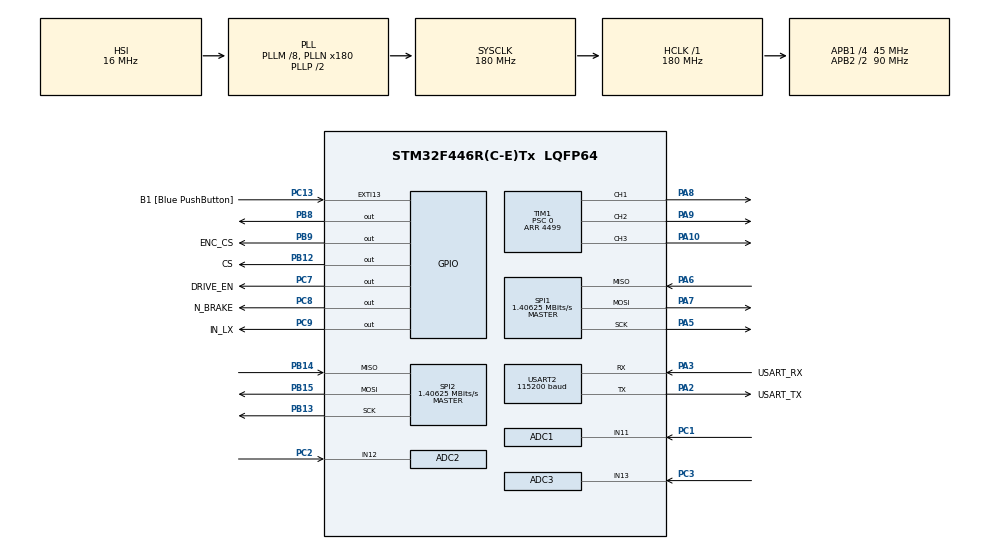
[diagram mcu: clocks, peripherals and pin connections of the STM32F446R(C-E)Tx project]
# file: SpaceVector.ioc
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ADC1.Channel-2\#ChannelRegularConversion=ADC_CHANNEL_11
ADC1.NbrOfConversionFlag=1
ADC1.Rank-2\#ChannelRegularConversion=1
ADC1.SamplingTime-2\#ChannelRegularConversion=ADC_SAMPLETIME_3CYCLES
ADC1.master=1
ADC2.Channel-0\#ChannelRegularConversion=ADC_CHANNEL_12
ADC2.NbrOfConversionFlag=1
ADC2.Rank-0\#ChannelRegularConversion=1
ADC2.SamplingTime-0\#ChannelRegularConversion=ADC_SAMPLETIME_3CYCLES
ADC3.Channel-0\#ChannelRegularConversion=ADC_CHANNEL_13
ADC3.NbrOfConversionFlag=1
ADC3.Rank-0\#ChannelRegularConversion=1
ADC3.SamplingTime-0\#ChannelRegularConversion=ADC_SAMPLETIME_3CYCLES
Dma.ADC1.2.Direction=DMA_PERIPH_TO_MEMORY
Dma.ADC1.2.FIFOMode=DMA_FIFOMODE_DISABLE
Dma.ADC1.2.Instance=DMA2_Stream4
Dma.ADC1.2.MemDataAlignment=DMA_MDATAALIGN_HALFWORD
Dma.ADC1.2.MemInc=DMA_MINC_ENABLE
Dma.ADC1.2.Mode=DMA_NORMAL
Dma.ADC1.2.PeriphDataAlignment=DMA_PDATAALIGN_HALFWORD
Dma.ADC1.2.PeriphInc=DMA_PINC_DISABLE
Dma.ADC1.2.Priority=DMA_PRIORITY_LOW
Dma.ADC2.0.Direction=DMA_PERIPH_TO_MEMORY
Dma.ADC2.0.FIFOMode=DMA_FIFOMODE_DISABLE
Dma.ADC2.0.Instance=DMA2_Stream2
Dma.ADC2.0.MemDataAlignment=DMA_MDATAALIGN_HALFWORD
Dma.ADC2.0.MemInc=DMA_MINC_ENABLE
Dma.ADC2.0.Mode=DMA_NORMAL
Dma.ADC2.0.PeriphDataAlignment=DMA_PDATAALIGN_HALFWORD
Dma.ADC2.0.PeriphInc=DMA_PINC_DISABLE
Dma.ADC2.0.Priority=DMA_PRIORITY_LOW
Dma.ADC3.1.Direction=DMA_PERIPH_TO_MEMORY
Dma.ADC3.1.FIFOMode=DMA_FIFOMODE_DISABLE
Dma.ADC3.1.Instance=DMA2_Stream1
Dma.ADC3.1.MemDataAlignment=DMA_MDATAALIGN_HALFWORD
Dma.ADC3.1.MemInc=DMA_MINC_ENABLE
Dma.ADC3.1.Mode=DMA_NORMAL
Dma.ADC3.1.PeriphDataAlignment=DMA_PDATAALIGN_HALFWORD
Dma.ADC3.1.PeriphInc=DMA_PINC_DISABLE
Dma.ADC3.1.Priority=DMA_PRIORITY_LOW
Dma.Request0=ADC2
Dma.Request1=ADC3
Dma.Request2=ADC1
Dma.Request3=SPI1_RX
Dma.SPI1_RX.3.Direction=DMA_PERIPH_TO_MEMORY
Dma.SPI1_RX.3.FIFOMode=DMA_FIFOMODE_DISABLE
Dma.SPI1_RX.3.Instance=DMA2_Stream0
Dma.SPI1_RX.3.MemDataAlignment=DMA_MDATAALIGN_BYTE
Dma.SPI1_RX.3.MemInc=DMA_MINC_ENABLE
Dma.SPI1_RX.3.Mode=DMA_CIRCULAR
Dma.SPI1_RX.3.PeriphDataAlignment=DMA_PDATAALIGN_BYTE
Dma.SPI1_RX.3.PeriphInc=DMA_PINC_DISABLE
Dma.SPI1_RX.3.Priority=DMA_PRIORITY_LOW
Mcu.Family=STM32F4
Mcu.Name=STM32F446R(C-E)Tx
Mcu.Package=LQFP64
NVIC.DMA2_Stream0_IRQn=true\:0\:0\:false\:false\:true\:false\:true\:true
NVIC.DMA2_Stream1_IRQn=true\:0\:0\:false\:false\:true\:false\:true\:true
NVIC.DMA2_Stream2_IRQn=true\:0\:0\:false\:false\:true\:false\:true\:true
NVIC.DMA2_Stream4_IRQn=true\:0\:0\:false\:false\:true\:false\:true\:true
NVIC.PriorityGroup=NVIC_PRIORITYGROUP_0
NVIC.SPI1_IRQn=true\:0\:0\:false\:false\:true\:true\:true\:true
NVIC.TIM1_UP_TIM10_IRQn=true\:0\:0\:false\:false\:true\:true\:true\:true
NVIC.USART2_IRQn=true\:0\:0\:false\:false\:true\:true\:true\:true
PA10.Signal=S_TIM1_CH3
PA13.GPIO_Label=TMS
PA13.Mode=Trace_Asynchronous_SW
PA13.Signal=SYS_JTMS-SWDIO
PA14.GPIO_Label=TCK
PA14.Mode=Trace_Asynchronous_SW
PA14.Signal=SYS_JTCK-SWCLK
PA2.GPIO_Label=USART_TX
PA2.Mode=Asynchronous
PA2.Signal=USART2_TX
PA3.GPIO_Label=USART_RX
PA3.Mode=Asynchronous
PA3.Signal=USART2_RX
PA5.Mode=Full_Duplex_Master
PA5.Signal=SPI1_SCK
PA6.Mode=Full_Duplex_Master
PA6.Signal=SPI1_MISO
PA7.Mode=Full_Duplex_Master
PA7.Signal=SPI1_MOSI
PA8.Signal=S_TIM1_CH1
PA9.Signal=S_TIM1_CH2
PB12.GPIO_Label=CS
PB12.Signal=GPIO_Output
PB13.Mode=Full_Duplex_Master
PB13.Signal=SPI2_SCK
PB14.Mode=Full_Duplex_Master
PB14.Signal=SPI2_MISO
PB15.Mode=Full_Duplex_Master
PB15.Signal=SPI2_MOSI
PB3.GPIO_Label=SWO
PB3.Mode=Trace_Asynchronous_SW
PB3.Signal=SYS_JTDO-SWO
PB8.GPIO_Speed=GPIO_SPEED_FREQ_VERY_HIGH
PB8.Signal=GPIO_Output
PB9.GPIO_Label=ENC_CS
PB9.Signal=GPIO_Output
PC1.Signal=ADCx_IN11
PC13.GPIO_Label=B1 [Blue PushButton]
PC13.GPIO_ModeDefaultEXTI=GPIO_MODE_IT_FALLING
PC13.Signal=GPXTI13
PC14-OSC32_IN.Signal=RCC_OSC32_IN
PC15-OSC32_OUT.Signal=RCC_OSC32_OUT
PC2.Signal=ADCx_IN12
PC3.Signal=ADCx_IN13
PC7.GPIO_Label=DRIVE_EN
PC7.Signal=GPIO_Output
PC8.GPIO_Label=N_BRAKE
PC8.Signal=GPIO_Output
PC9.GPIO_Label=IN_LX
PC9.Signal=GPIO_Output
PH0-OSC_IN.Signal=RCC_OSC_IN
PH1-OSC_OUT.Signal=RCC_OSC_OUT
ProjectManager.HeapSize=0x200
ProjectManager.StackSize=0x400
ProjectManager.TargetToolchain=STM32CubeIDE
RCC.AHBFreq_Value=180000000
RCC.APB1CLKDivider=RCC_HCLK_DIV4
RCC.APB1Freq_Value=45000000
RCC.APB1TimFreq_Value=90000000
RCC.APB2CLKDivider=RCC_HCLK_DIV2
RCC.APB2Freq_Value=90000000
RCC.APB2TimFreq_Value=180000000
RCC.CortexFreq_Value=180000000
RCC.FLatency-AdvancedSettings=FLASH_LATENCY_5
RCC.HCLKFreq_Value=180000000
RCC.HSE_VALUE=8000000
RCC.HSI_VALUE=16000000
RCC.LSE_VALUE=32768
RCC.PLLM=8
RCC.PLLN=180
RCC.SYSCLKFreq_VALUE=180000000
RCC.SYSCLKSource=RCC_SYSCLKSOURCE_PLLCLK
RCC.USBFreq_Value=180000000
RCC.VCOOutputFreq_Value=360000000
SH.ADCx_IN11.0=ADC1_IN11,IN11
SH.ADCx_IN12.0=ADC2_IN12,IN12
SH.ADCx_IN13.0=ADC3_IN13,IN13
SH.S_TIM1_CH1.0=TIM1_CH1,PWM Generation1 CH1
SH.S_TIM1_CH2.0=TIM1_CH2,PWM Generation2 CH2
SH.S_TIM1_CH3.0=TIM1_CH3,PWM Generation3 CH3
SPI1.BaudRatePrescaler=SPI_BAUDRATEPRESCALER_64
SPI1.CLKPhase=SPI_PHASE_2EDGE
SPI1.CalculateBaudRate=1.40625 MBits/s
SPI1.Direction=SPI_DIRECTION_2LINES
SPI1.Mode=SPI_MODE_MASTER
SPI1.VirtualType=VM_MASTER
SPI2.BaudRatePrescaler=SPI_BAUDRATEPRESCALER_32
SPI2.CLKPhase=SPI_PHASE_2EDGE
SPI2.CalculateBaudRate=1.40625 MBits/s
SPI2.Direction=SPI_DIRECTION_2LINES
SPI2.Mode=SPI_MODE_MASTER
SPI2.VirtualType=VM_MASTER
TIM1.AutoReloadPreload=TIM_AUTORELOAD_PRELOAD_DISABLE
TIM1.Channel-PWM\ Generation1\ CH1=TIM_CHANNEL_1
TIM1.Channel-PWM\ Generation2\ CH2=TIM_CHANNEL_2
TIM1.Channel-PWM\ Generation3\ CH3=TIM_CHANNEL_3
TIM1.CounterMode=TIM_COUNTERMODE_CENTERALIGNED1
TIM1.Period=4499
TIM1.Prescaler=0
TIM1.RepetitionCounter=0
TIM1.TIM_MasterOutputTrigger=TIM_TRGO_RESET
TIM6.Prescaler=180-1
USART2.BaudRate=115200
USART2.VirtualMode=VM_ASYNC
VP_TIM1_VS_ClockSourceINT.Mode=Internal
VP_TIM6_VS_ClockSourceINT.Mode=Enable_Timer
board=NUCLEO-F446RE

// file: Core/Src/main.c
/* USER CODE BEGIN Header */
/**
  ******************************************************************************
  * @file           : main.c
  * @brief          : Main program body
  ******************************************************************************
  * @attention
  *
  * Copyright (c) 2023 STMicroelectronics.
  * All rights reserved.
  *
  * This software is licensed under terms that can be found in the LICENSE file
  * in the root directory of this software component.
  * If no LICENSE file comes with this software, it is provided AS-IS.
  *
  ******************************************************************************
  */
/* USER CODE END Header */
#include "main.h"

/* USER CODE BEGIN Includes */
#include <stdio.h>
#include <math.h>
/* USER CODE END Includes */

 ADC_HandleTypeDef hadc1;
ADC_HandleTypeDef hadc2;
ADC_HandleTypeDef hadc3;
DMA_HandleTypeDef hdma_adc1;
DMA_HandleTypeDef hdma_adc2;
DMA_HandleTypeDef hdma_adc3;

SPI_HandleTypeDef hspi1;
SPI_HandleTypeDef hspi2;
DMA_HandleTypeDef hdma_spi1_rx;

TIM_HandleTypeDef htim1;
TIM_HandleTypeDef htim6;

UART_HandleTypeDef huart2;

/* USER CODE BEGIN PV */
const float Vdc = 24;
double Va,Vb,Vc = 0.0f;
uint16_t k = 0;
uint32_t last_time = 0;

typedef struct Stationary{
	float ds;
	float qs;
}Stationary;

typedef struct Rotating{
	float dr;
	float qr;
}Rotating;

volatile struct Stationary i_dqs;
volatile uint8_t adc_done = 0;
uint8_t READ_ENC_BUFF[2] = {0x7F,0xFE};
uint8_t enc_data[2];
float elec_angle = 0.0f;
volatile uint16_t tmp_angle;
Phase adc = {0,0,0};
Phase Iabc = {0,0,0};
Stationary Idqs = {0,0};
Rotating Idqr = {0,0};
uint16_t adc_offset[3] = {0,0,0};

uint16_t i_ph1 = 0;
uint16_t i_ph2 = 0;
uint16_t i_ph3 = 0;

/* USER CODE END PV */

void SystemClock_Config(void);
static void MX_GPIO_Init(void);
static void MX_TIM1_Init(void);
static void MX_ADC1_Init(void);
static void MX_SPI2_Init(void);
static void MX_DMA_Init(void);
static void MX_ADC3_Init(void);
static void MX_ADC2_Init(void);
static void MX_USART2_UART_Init(void);
static void MX_SPI1_Init(void);
static void MX_TIM6_Init(void);
/* USER CODE BEGIN PFP */
void SPISend(uint8_t addr,uint8_t val1,uint8_t val2);
uint16_t SPIRead(uint8_t addr);
void setMosfet();
int Sector(double Ceta);
double Convert(double degree);
void SpaceVector(double V_ref,float Ceta);
void delay_us(uint16_t us);
/* USER CODE END PFP */

/* USER CODE BEGIN 0 */
//void HAL_TIM_PeriodElapsedCallback(TIM_HandleTypeDef *htim){
//	Iabc.a = -((i_ph1-adc_offset[0])/4096.0f*3.3)/(CURRENT_SENSE_GAIN*R_SENSE);
//	Iabc.b = -((i_ph2-adc_offset[1])/4096.0f*3.3)/(CURRENT_SENSE_GAIN*R_SENSE);
//	Iabc.c = -((i_ph3-adc_offset[2])/4096.0f*3.3)/(CURRENT_SENSE_GAIN*R_SENSE);
//	HAL_ADC_Start_DMA(&hadc1, (uint32_t *)&i_ph1, 1);
//	HAL_ADC_Start_DMA(&hadc2, (uint32_t *)&i_ph2, 1);
//	HAL_ADC_Start_DMA(&hadc3, (uint32_t *)&i_ph3, 1);
//	TIM1->CCR1 = Va*2598;
//	TIM1->CCR2 = Vb*2598;
//	TIM1->CCR3 = Vc*2598;
//}

void HAL_ADC_ConvCpltCallback(ADC_HandleTypeDef* hadc){
//	if(hadc->Instance == ADC1)
//	  Iabc.a = -((i_ph1-adc_offset[0])/4096.0f*3.3)/(CURRENT_SENSE_GAIN*R_SENSE);
//	else if(hadc->Instance == ADC2)
//	  Iabc.b = -((i_ph2-adc_offset[1])/4095.0f*3.3)/(CURRENT_SENSE_GAIN*R_SENSE);
//	else if(hadc->Instance == ADC3)
//	  Iabc.c = -((i_ph3-adc_offset[2])/4095.0f*3.3)/(CURRENT_SENSE_GAIN*R_SENSE);
}

//void HAL_ADC_ConvCpltCallback(ADC_HandleTypeDef* hadc)
//{
//    // Read & Update The ADC Result
//	static uint8_t buff[9] = {0,0,0,0,0,0,0,'\r','\n'};
//	static uint8_t counter = 0;
//	if(hadc->Instance == ADC1)
//	{
//		buff[0] = i_ph1  >> 8;
//		buff[1] = i_ph1;
//		adc_done |= 1;
//	}
//	else if(hadc->Instance == ADC2)
//	{
//			buff[2] = i_ph2  >> 8;
//			buff[3] = i_ph2;
//			adc_done |= 2;
//	}
//	else if(hadc->Instance == ADC3)
//	{
//			buff[4] = i_ph3  >> 8;
//			buff[5] = i_ph3;
//			adc_done |= 4;
//	}
//
//	if(adc_done == 7)
//	{
//		buff[6] = counter;
//		HAL_UART_Transmit_IT(&huart2, buff, 9);
//		counter++;
//		adc_done = 0;
//	}
//}

void HAL_SPI_RxCpltCallback(SPI_HandleTypeDef * hspi)
{
//	tmp_angle = ((enc_data[0] & 0b00111111) << 8) | enc_data[1];
//	tmp_angle += 1;
}

//void HAL_SPI_TxCpltCallback(SPI_HandleTypeDef * hspi)
//{
//	if(hspi->Instance == SPI1)
//	{
//		HAL_GPIO_WritePin(ENC_CS_GPIO_Port, ENC_CS_Pin, GPIO_PIN_SET);
//		delay_us(1);
//		HAL_GPIO_WritePin(ENC_CS_GPIO_Port, ENC_CS_Pin, GPIO_PIN_RESET);
//		HAL_SPI_TransmitReceive_IT(&hspi1, READ_ENC_BUFF, enc_data, 2);
//	}
//}

void HAL_SPI_TxRxCpltCallback(SPI_HandleTypeDef * hspi)
{
	if(hspi->Instance == SPI1)
	{
		tmp_angle = ((enc_data[0] & 0b00111111) << 8) | enc_data[1];
	}
}

void phase2dqs(struct Phase *i_ph, struct Stationary *i_dqs){
	i_dqs->ds = (2*i_ph->a - i_ph->b - i_ph->c)/3;
	i_dqs->qs = (i_ph->b - i_ph->c)/sqrt(3);
}

void dqs2dqr(Stationary *i_dqs, Rotating *i_dqr, float theta){
	theta *= (M_PI/180.0f);
	i_dqr->dr =  (i_dqs->ds*cos(theta)) + (i_dqs->qs*sin(theta));
	i_dqr->qr = (-i_dqs->ds*sin(theta)) + (i_dqs->qs*cos(theta));
}

void calibrateADC(){
	uint32_t tmp[3] = {0,0,0};
	SpaceVector(0.0, 0);
	for(int i=0;i<100;i++){
		HAL_ADC_Start(&hadc1);
		HAL_ADC_PollForConversion(&hadc1, 1);
		tmp[0] += HAL_ADC_GetValue(&hadc1);
		HAL_ADC_Stop(&hadc1);
		HAL_ADC_Start(&hadc2);
		HAL_ADC_PollForConversion(&hadc2, 1);
		tmp[1] += HAL_ADC_GetValue(&hadc2);
		HAL_ADC_Stop(&hadc2);
		HAL_ADC_Start(&hadc3);
		HAL_ADC_PollForConversion(&hadc3, 1);
		tmp[2] += HAL_ADC_GetValue(&hadc3);
		HAL_ADC_Stop(&hadc3);
//		delay_us(10);
	}
	adc_offset[0] = tmp[0]/100;
	adc_offset[1] = tmp[1]/100;
	adc_offset[2] = tmp[2]/100;
}

void delay_us(uint16_t us)
{
	htim6.Instance->CNT = 0;
	while(htim6.Instance->CNT < us);
}

void startEncRead()
{
	HAL_GPIO_WritePin(ENC_CS_GPIO_Port, ENC_CS_Pin, GPIO_PIN_SET);
	delay_us(1);
	HAL_GPIO_WritePin(ENC_CS_GPIO_Port, ENC_CS_Pin, GPIO_PIN_RESET);
	HAL_SPI_Transmit(&hspi1, READ_ENC_BUFF, 2, 10);
	HAL_GPIO_WritePin(ENC_CS_GPIO_Port, ENC_CS_Pin, GPIO_PIN_SET);
}

void readEnc()
{
	HAL_GPIO_WritePin(ENC_CS_GPIO_Port, ENC_CS_Pin, GPIO_PIN_SET);
	delay_us(1);
	HAL_GPIO_WritePin(ENC_CS_GPIO_Port, ENC_CS_Pin, GPIO_PIN_RESET);
	HAL_SPI_TransmitReceive_IT(&hspi1, READ_ENC_BUFF, enc_data, 2);
}

void getElecAngle()
{
	int16_t _tmp = tmp_angle - 2015;
	while( _tmp < 0)
		_tmp += 1170;

	elec_angle = (_tmp% 1170) * 360.0f/1170.0f;
}
/* USER CODE END 0 */

int main(void)
{

  /* MCU Configuration--------------------------------------------------------*/

  /* Reset of all peripherals, Initializes the Flash interface and the Systick. */
  HAL_Init();

  /* Configure the system clock */
  SystemClock_Config();

  /* Initialize all configured peripherals */
  MX_GPIO_Init();
  MX_TIM1_Init();
  MX_SPI2_Init();
  MX_DMA_Init();
  MX_ADC3_Init();
  MX_ADC2_Init();
  MX_ADC1_Init();
  MX_USART2_UART_Init();
  MX_SPI1_Init();
  MX_TIM6_Init();
  /* USER CODE BEGIN 2 */

  setMosfet();
  HAL_GPIO_WritePin(DRIVE_EN_GPIO_Port, DRIVE_EN_Pin, GPIO_PIN_SET);
  HAL_GPIO_WritePin(N_BRAKE_GPIO_Port, N_BRAKE_Pin, GPIO_PIN_SET);
  HAL_Delay(500);
  calibrateADC();
  HAL_TIM_Base_Start_IT(&htim1);
  HAL_TIM_Base_Start(&htim6);
  TIM1->RCR = 1;

  HAL_TIM_PWM_Start(&htim1, TIM_CHANNEL_1);
  HAL_TIM_PWM_Start(&htim1, TIM_CHANNEL_2);
  HAL_TIM_PWM_Start(&htim1, TIM_CHANNEL_3);
  startEncRead();
  uint16_t round = 0;
  uint32_t last_time = 0;
  /* USER CODE END 2 */

  /* Infinite loop */
  /* USER CODE BEGIN WHILE */
  while (1)
  {
	  if(round < 1)
	  {
		  for(float angle = 0.0f; angle < 360; angle +=0.005f){
			  if(HAL_GetTick() - last_time >= 2){
				  last_time = HAL_GetTick();
				  readEnc();
				  getElecAngle();
				  SpaceVector(4.0f, 0);
	//			  phase2dqs(&Iabc,&Idqs);
	//			  delay_us(20);
	//			  dqs2dqr(&Idqs,&Idqr,angle);
			  }
		  }
		  round++;
	  }
	  readEnc();
	  getElecAngle();
	  delay_us(20);

    /* USER CODE END WHILE */

  }
}

void SystemClock_Config(void)
{
  RCC_OscInitTypeDef RCC_OscInitStruct = {0};
  RCC_ClkInitTypeDef RCC_ClkInitStruct = {0};

  /** Configure the main internal regulator output voltage
  */
  __HAL_RCC_PWR_CLK_ENABLE();
  __HAL_PWR_VOLTAGESCALING_CONFIG(PWR_REGULATOR_VOLTAGE_SCALE1);

  /** Initializes the RCC Oscillators according to the specified parameters
  * in the RCC_OscInitTypeDef structure.
  */
  RCC_OscInitStruct.OscillatorType = RCC_OSCILLATORTYPE_HSI;
  RCC_OscInitStruct.HSIState = RCC_HSI_ON;
  RCC_OscInitStruct.HSICalibrationValue = RCC_HSICALIBRATION_DEFAULT;
  RCC_OscInitStruct.PLL.PLLState = RCC_PLL_ON;
  RCC_OscInitStruct.PLL.PLLSource = RCC_PLLSOURCE_HSI;
  RCC_OscInitStruct.PLL.PLLM = 8;
  RCC_OscInitStruct.PLL.PLLN = 180;
  RCC_OscInitStruct.PLL.PLLP = RCC_PLLP_DIV2;
  RCC_OscInitStruct.PLL.PLLQ = 2;
  RCC_OscInitStruct.PLL.PLLR = 2;
  if (HAL_RCC_OscConfig(&RCC_OscInitStruct) != HAL_OK)
  {
    Error_Handler();
  }

  /** Activate the Over-Drive mode
  */
  if (HAL_PWREx_EnableOverDrive() != HAL_OK)
  {
    Error_Handler();
  }

  /** Initializes the CPU, AHB and APB buses clocks
  */
  RCC_ClkInitStruct.ClockType = RCC_CLOCKTYPE_HCLK|RCC_CLOCKTYPE_SYSCLK
                              |RCC_CLOCKTYPE_PCLK1|RCC_CLOCKTYPE_PCLK2;
  RCC_ClkInitStruct.SYSCLKSource = RCC_SYSCLKSOURCE_PLLCLK;
  RCC_ClkInitStruct.AHBCLKDivider = RCC_SYSCLK_DIV1;
  RCC_ClkInitStruct.APB1CLKDivider = RCC_HCLK_DIV4;
  RCC_ClkInitStruct.APB2CLKDivider = RCC_HCLK_DIV2;

  if (HAL_RCC_ClockConfig(&RCC_ClkInitStruct, FLASH_LATENCY_5) != HAL_OK)
  {
    Error_Handler();
  }
}

static void MX_ADC1_Init(void)
{

  ADC_ChannelConfTypeDef sConfig = {0};

  /** Configure the global features of the ADC (Clock, Resolution, Data Alignment and number of conversion)
  */
  hadc1.Instance = ADC1;
  hadc1.Init.ClockPrescaler = ADC_CLOCK_SYNC_PCLK_DIV4;
  hadc1.Init.Resolution = ADC_RESOLUTION_12B;
  hadc1.Init.ScanConvMode = DISABLE;
  hadc1.Init.ContinuousConvMode = DISABLE;
  hadc1.Init.DiscontinuousConvMode = DISABLE;
  hadc1.Init.ExternalTrigConvEdge = ADC_EXTERNALTRIGCONVEDGE_NONE;
  hadc1.Init.ExternalTrigConv = ADC_SOFTWARE_START;
  hadc1.Init.DataAlign = ADC_DATAALIGN_RIGHT;
  hadc1.Init.NbrOfConversion = 1;
  hadc1.Init.DMAContinuousRequests = DISABLE;
  hadc1.Init.EOCSelection = ADC_EOC_SINGLE_CONV;
  if (HAL_ADC_Init(&hadc1) != HAL_OK)
  {
    Error_Handler();
  }

  /** Configure for the selected ADC regular channel its corresponding rank in the sequencer and its sample time.
  */
  sConfig.Channel = ADC_CHANNEL_11;
  sConfig.Rank = 1;
  sConfig.SamplingTime = ADC_SAMPLETIME_3CYCLES;
  if (HAL_ADC_ConfigChannel(&hadc1, &sConfig) != HAL_OK)
  {
    Error_Handler();
  }

}

static void MX_ADC2_Init(void)
{

  ADC_ChannelConfTypeDef sConfig = {0};

  /** Configure the global features of the ADC (Clock, Resolution, Data Alignment and number of conversion)
  */
  hadc2.Instance = ADC2;
  hadc2.Init.ClockPrescaler = ADC_CLOCK_SYNC_PCLK_DIV4;
  hadc2.Init.Resolution = ADC_RESOLUTION_12B;
  hadc2.Init.ScanConvMode = DISABLE;
  hadc2.Init.ContinuousConvMode = DISABLE;
  hadc2.Init.DiscontinuousConvMode = DISABLE;
  hadc2.Init.ExternalTrigConvEdge = ADC_EXTERNALTRIGCONVEDGE_NONE;
  hadc2.Init.ExternalTrigConv = ADC_SOFTWARE_START;
  hadc2.Init.DataAlign = ADC_DATAALIGN_RIGHT;
  hadc2.Init.NbrOfConversion = 1;
  hadc2.Init.DMAContinuousRequests = DISABLE;
  hadc2.Init.EOCSelection = ADC_EOC_SINGLE_CONV;
  if (HAL_ADC_Init(&hadc2) != HAL_OK)
  {
    Error_Handler();
  }

  /** Configure for the selected ADC regular channel its corresponding rank in the sequencer and its sample time.
  */
  sConfig.Channel = ADC_CHANNEL_12;
  sConfig.Rank = 1;
  sConfig.SamplingTime = ADC_SAMPLETIME_3CYCLES;
  if (HAL_ADC_ConfigChannel(&hadc2, &sConfig) != HAL_OK)
  {
    Error_Handler();
  }

}

static void MX_ADC3_Init(void)
{

  ADC_ChannelConfTypeDef sConfig = {0};

  /** Configure the global features of the ADC (Clock, Resolution, Data Alignment and number of conversion)
  */
  hadc3.Instance = ADC3;
  hadc3.Init.ClockPrescaler = ADC_CLOCK_SYNC_PCLK_DIV4;
  hadc3.Init.Resolution = ADC_RESOLUTION_12B;
  hadc3.Init.ScanConvMode = DISABLE;
  hadc3.Init.ContinuousConvMode = DISABLE;
  hadc3.Init.DiscontinuousConvMode = DISABLE;
  hadc3.Init.ExternalTrigConvEdge = ADC_EXTERNALTRIGCONVEDGE_NONE;
  hadc3.Init.ExternalTrigConv = ADC_SOFTWARE_START;
  hadc3.Init.DataAlign = ADC_DATAALIGN_RIGHT;
  hadc3.Init.NbrOfConversion = 1;
  hadc3.Init.DMAContinuousRequests = DISABLE;
  hadc3.Init.EOCSelection = ADC_EOC_SINGLE_CONV;
  if (HAL_ADC_Init(&hadc3) != HAL_OK)
  {
    Error_Handler();
  }

  /** Configure for the selected ADC regular channel its corresponding rank in the sequencer and its sample time.
  */
  sConfig.Channel = ADC_CHANNEL_13;
  sConfig.Rank = 1;
  sConfig.SamplingTime = ADC_SAMPLETIME_3CYCLES;
  if (HAL_ADC_ConfigChannel(&hadc3, &sConfig) != HAL_OK)
  {
    Error_Handler();
  }

}

static void MX_SPI1_Init(void)
{

  /* SPI1 parameter configuration*/
  hspi1.Instance = SPI1;
  hspi1.Init.Mode = SPI_MODE_MASTER;
  hspi1.Init.Direction = SPI_DIRECTION_2LINES;
  hspi1.Init.DataSize = SPI_DATASIZE_8BIT;
  hspi1.Init.CLKPolarity = SPI_POLARITY_LOW;
  hspi1.Init.CLKPhase = SPI_PHASE_2EDGE;
  hspi1.Init.NSS = SPI_NSS_SOFT;
  hspi1.Init.BaudRatePrescaler = SPI_BAUDRATEPRESCALER_64;
  hspi1.Init.FirstBit = SPI_FIRSTBIT_MSB;
  hspi1.Init.TIMode = SPI_TIMODE_DISABLE;
  hspi1.Init.CRCCalculation = SPI_CRCCALCULATION_DISABLE;
  hspi1.Init.CRCPolynomial = 10;
  if (HAL_SPI_Init(&hspi1) != HAL_OK)
  {
    Error_Handler();
  }

}

static void MX_SPI2_Init(void)
{

  /* SPI2 parameter configuration*/
  hspi2.Instance = SPI2;
  hspi2.Init.Mode = SPI_MODE_MASTER;
  hspi2.Init.Direction = SPI_DIRECTION_2LINES;
  hspi2.Init.DataSize = SPI_DATASIZE_8BIT;
  hspi2.Init.CLKPolarity = SPI_POLARITY_LOW;
  hspi2.Init.CLKPhase = SPI_PHASE_2EDGE;
  hspi2.Init.NSS = SPI_NSS_SOFT;
  hspi2.Init.BaudRatePrescaler = SPI_BAUDRATEPRESCALER_32;
  hspi2.Init.FirstBit = SPI_FIRSTBIT_MSB;
  hspi2.Init.TIMode = SPI_TIMODE_DISABLE;
  hspi2.Init.CRCCalculation = SPI_CRCCALCULATION_DISABLE;
  hspi2.Init.CRCPolynomial = 10;
  if (HAL_SPI_Init(&hspi2) != HAL_OK)
  {
    Error_Handler();
  }

}

static void MX_TIM1_Init(void)
{

  TIM_ClockConfigTypeDef sClockSourceConfig = {0};
  TIM_MasterConfigTypeDef sMasterConfig = {0};
  TIM_OC_InitTypeDef sConfigOC = {0};
  TIM_BreakDeadTimeConfigTypeDef sBreakDeadTimeConfig = {0};

  htim1.Instance = TIM1;
  htim1.Init.Prescaler = 0;
  htim1.Init.CounterMode = TIM_COUNTERMODE_CENTERALIGNED1;
  htim1.Init.Period = 4499;
  htim1.Init.ClockDivision = TIM_CLOCKDIVISION_DIV1;
  htim1.Init.AutoReloadPreload = TIM_AUTORELOAD_PRELOAD_DISABLE;
  if (HAL_TIM_Base_Init(&htim1) != HAL_OK)
  {
    Error_Handler();
  }
  sClockSourceConfig.ClockSource = TIM_CLOCKSOURCE_INTERNAL;
  if (HAL_TIM_ConfigClockSource(&htim1, &sClockSourceConfig) != HAL_OK)
  {
    Error_Handler();
  }
  if (HAL_TIM_PWM_Init(&htim1) != HAL_OK)
  {
    Error_Handler();
  }
  sMasterConfig.MasterOutputTrigger = TIM_TRGO_RESET;
  sMasterConfig.MasterSlaveMode = TIM_MASTERSLAVEMODE_DISABLE;
  if (HAL_TIMEx_MasterConfigSynchronization(&htim1, &sMasterConfig) != HAL_OK)
  {
    Error_Handler();
  }
  sConfigOC.OCMode = TIM_OCMODE_PWM1;
  sConfigOC.Pulse = 0;
  sConfigOC.OCPolarity = TIM_OCPOLARITY_HIGH;
  sConfigOC.OCNPolarity = TIM_OCNPOLARITY_HIGH;
  sConfigOC.OCFastMode = TIM_OCFAST_DISABLE;
  sConfigOC.OCIdleState = TIM_OCIDLESTATE_RESET;
  sConfigOC.OCNIdleState = TIM_OCNIDLESTATE_RESET;
  if (HAL_TIM_PWM_ConfigChannel(&htim1, &sConfigOC, TIM_CHANNEL_1) != HAL_OK)
  {
    Error_Handler();
  }
  if (HAL_TIM_PWM_ConfigChannel(&htim1, &sConfigOC, TIM_CHANNEL_2) != HAL_OK)
  {
    Error_Handler();
  }
  if (HAL_TIM_PWM_ConfigChannel(&htim1, &sConfigOC, TIM_CHANNEL_3) != HAL_OK)
  {
    Error_Handler();
  }
  sBreakDeadTimeConfig.OffStateRunMode = TIM_OSSR_DISABLE;
  sBreakDeadTimeConfig.OffStateIDLEMode = TIM_OSSI_DISABLE;
  sBreakDeadTimeConfig.LockLevel = TIM_LOCKLEVEL_OFF;
  sBreakDeadTimeConfig.DeadTime = 0;
  sBreakDeadTimeConfig.BreakState = TIM_BREAK_DISABLE;
  sBreakDeadTimeConfig.BreakPolarity = TIM_BREAKPOLARITY_HIGH;
  sBreakDeadTimeConfig.AutomaticOutput = TIM_AUTOMATICOUTPUT_DISABLE;
  if (HAL_TIMEx_ConfigBreakDeadTime(&htim1, &sBreakDeadTimeConfig) != HAL_OK)
  {
    Error_Handler();
  }
  HAL_TIM_MspPostInit(&htim1);

}

static void MX_TIM6_Init(void)
{

  TIM_MasterConfigTypeDef sMasterConfig = {0};

  htim6.Instance = TIM6;
  htim6.Init.Prescaler = 180-1;
  htim6.Init.CounterMode = TIM_COUNTERMODE_UP;
  htim6.Init.Period = 65535;
  htim6.Init.AutoReloadPreload = TIM_AUTORELOAD_PRELOAD_DISABLE;
  if (HAL_TIM_Base_Init(&htim6) != HAL_OK)
  {
    Error_Handler();
  }
  sMasterConfig.MasterOutputTrigger = TIM_TRGO_RESET;
  sMasterConfig.MasterSlaveMode = TIM_MASTERSLAVEMODE_DISABLE;
  if (HAL_TIMEx_MasterConfigSynchronization(&htim6, &sMasterConfig) != HAL_OK)
  {
    Error_Handler();
  }

}

static void MX_USART2_UART_Init(void)
{

  huart2.Instance = USART2;
  huart2.Init.BaudRate = 115200;
  huart2.Init.WordLength = UART_WORDLENGTH_8B;
  huart2.Init.StopBits = UART_STOPBITS_1;
  huart2.Init.Parity = UART_PARITY_NONE;
  huart2.Init.Mode = UART_MODE_TX_RX;
  huart2.Init.HwFlowCtl = UART_HWCONTROL_NONE;
  huart2.Init.OverSampling = UART_OVERSAMPLING_16;
  if (HAL_UART_Init(&huart2) != HAL_OK)
  {
    Error_Handler();
  }

}

static void MX_DMA_Init(void)
{

  /* DMA controller clock enable */
  __HAL_RCC_DMA2_CLK_ENABLE();

  /* DMA interrupt init */
  /* DMA2_Stream0_IRQn interrupt configuration */
  HAL_NVIC_SetPriority(DMA2_Stream0_IRQn, 0, 0);
  HAL_NVIC_EnableIRQ(DMA2_Stream0_IRQn);
  /* DMA2_Stream1_IRQn interrupt configuration */
  HAL_NVIC_SetPriority(DMA2_Stream1_IRQn, 0, 0);
  HAL_NVIC_EnableIRQ(DMA2_Stream1_IRQn);
  /* DMA2_Stream2_IRQn interrupt configuration */
  HAL_NVIC_SetPriority(DMA2_Stream2_IRQn, 0, 0);
  HAL_NVIC_EnableIRQ(DMA2_Stream2_IRQn);
  /* DMA2_Stream4_IRQn interrupt configuration */
  HAL_NVIC_SetPriority(DMA2_Stream4_IRQn, 0, 0);
  HAL_NVIC_EnableIRQ(DMA2_Stream4_IRQn);

}

static void MX_GPIO_Init(void)
{
  GPIO_InitTypeDef GPIO_InitStruct = {0};

  /* GPIO Ports Clock Enable */
  __HAL_RCC_GPIOC_CLK_ENABLE();
  __HAL_RCC_GPIOH_CLK_ENABLE();
  __HAL_RCC_GPIOA_CLK_ENABLE();
  __HAL_RCC_GPIOB_CLK_ENABLE();

  /*Configure GPIO pin Output Level */
  HAL_GPIO_WritePin(GPIOB, CS_Pin|GPIO_PIN_8|ENC_CS_Pin, GPIO_PIN_RESET);

  /*Configure GPIO pin Output Level */
  HAL_GPIO_WritePin(GPIOC, DRIVE_EN_Pin|N_BRAKE_Pin|IN_LX_Pin, GPIO_PIN_RESET);

  /*Configure GPIO pin : B1_Pin */
  GPIO_InitStruct.Pin = B1_Pin;
  GPIO_InitStruct.Mode = GPIO_MODE_IT_FALLING;
  GPIO_InitStruct.Pull = GPIO_NOPULL;
  HAL_GPIO_Init(B1_GPIO_Port, &GPIO_InitStruct);

  /*Configure GPIO pins : CS_Pin ENC_CS_Pin */
  GPIO_InitStruct.Pin = CS_Pin|ENC_CS_Pin;
  GPIO_InitStruct.Mode = GPIO_MODE_OUTPUT_PP;
  GPIO_InitStruct.Pull = GPIO_NOPULL;
  GPIO_InitStruct.Speed = GPIO_SPEED_FREQ_LOW;
  HAL_GPIO_Init(GPIOB, &GPIO_InitStruct);

  /*Configure GPIO pins : DRIVE_EN_Pin N_BRAKE_Pin IN_LX_Pin */
  GPIO_InitStruct.Pin = DRIVE_EN_Pin|N_BRAKE_Pin|IN_LX_Pin;
  GPIO_InitStruct.Mode = GPIO_MODE_OUTPUT_PP;
  GPIO_InitStruct.Pull = GPIO_NOPULL;
  GPIO_InitStruct.Speed = GPIO_SPEED_FREQ_LOW;
  HAL_GPIO_Init(GPIOC, &GPIO_InitStruct);

  /*Configure GPIO pin : PB8 */
  GPIO_InitStruct.Pin = GPIO_PIN_8;
  GPIO_InitStruct.Mode = GPIO_MODE_OUTPUT_PP;
  GPIO_InitStruct.Pull = GPIO_NOPULL;
  GPIO_InitStruct.Speed = GPIO_SPEED_FREQ_VERY_HIGH;
  HAL_GPIO_Init(GPIOB, &GPIO_InitStruct);

}

/* USER CODE BEGIN 4 */
void SPISend(uint8_t addr,uint8_t val1,uint8_t val2)
{
  HAL_GPIO_WritePin(CS_GPIO_Port,CS_Pin, GPIO_PIN_RESET);
  HAL_SPI_Transmit(&hspi2, &addr, 1, 100);
  HAL_SPI_Transmit(&hspi2, &val1, 1, 100);
  HAL_SPI_Transmit(&hspi2, &val2, 1, 100);
  HAL_GPIO_WritePin(CS_GPIO_Port,CS_Pin, GPIO_PIN_SET);
  HAL_Delay(1);
}

//uint16_t SPIRead(uint8_t addr)
//{
//  uint16_t data = 0;
//  SPI.beginTransaction(setting);
//  digitalWrite(cs,LOW);
//  SPI.transfer(addr);
//  data = (SPI.transfer(0) << 8);
//  data |= SPI.transfer(0);
//  digitalWrite(cs,HIGH);
//  SPI.endTransaction();
//  delayMicroseconds(100);
//  return data;
//}

void setMosfet()
{
  SPISend(FAULT_CLR_AddWrite,FAULT_CLR_HValue,FAULT_CLR_LValue);
  SPISend(SUPPLY_CFG_AddWrite,SUPPLY_CFG_HValue,SUPPLY_CFG_LValue);
  SPISend(PWM_CFG_AddWrite,PWM_CFG_HValue,PWM_CFG_LValue);
  SPISend(SENSOR_CFG_AddWrite,SENSOR_CFG_HValue,SENSOR_CFG_LValue);
  SPISend(IDRIVE_CFG_AddWrite,IDRIVE_CFG_HValue,IDRIVE_CFG_LValue);
  SPISend(IDRIVE_PRE_CFG_AddWrite,IDRIVE_PRE_CFG_HValue,IDRIVE_PRE_CFG_LValue);
  SPISend(TDRIVE_SRC_CFG_AddWrite,TDRIVE_SRC_CFG_HValue,TDRIVE_SRC_CFG_LValue);
  SPISend(TDRIVE_SINK_CFG_AddWrite,TDRIVE_SINK_CFG_HValue,TDRIVE_SINK_CFG_LValue);
  SPISend(DT_CFG_AddWrite,DT_CFG_HValue,DT_CFG_LValue);
  SPISend(CSAMP_CFG_AddWrite,CSAMP_CFG_HValue,CSAMP_CFG_LValue);
  SPISend(CSAMP2_CFG_AddWrite,CSAMP2_CFG_HValue,CSAMP2_CFG_LValue);
  HAL_Delay(10);

}

int Sector(double ceta){
	uint8_t _sector = 0;
	if(ceta >= 0 && ceta < 360)
		_sector = ceil(ceta/60);
	else
		_sector = 0;
	return _sector;
}
double Convert(double degree)
{
    return (M_PI/180*degree)-M_PI;
}
void SpaceVector(double V_ref,float Ceta){

	double rad=Convert(Ceta);
	double ts= (V_ref/Vdc)*sqrt(3);//mi*sqrt(3)
	int n=Sector(Ceta);
	float t1 = ts*(sin(((float)n*(M_PI/3.0f))-rad));
	float t2 = ts*(sin(rad-((float)n-1.0f)/3.0f*M_PI));

	float t0 = ts-(t1+t2);
	float t120 = t1+t2+(t0/2);
	float t10 = t1+(t0/2);
	float t20 = t2+(t0/2);
    // phase A
	switch(n){
	case 1 :Va=t120;
			Vb=t20;
			Vc=t0/2;//
	break;
 	case 2 :Va=t10;
 			Vb=t120;
 			Vc=t0/2;//
 	break;
 	case 3 :Va=t0/2;
 			Vb=t120;
 			Vc=t20;//
 	break;
 	case 4 :Va=t0/2;
 			Vb=t10;
 			Vc=t120;//
 	break;
 	case 5 :Va=t20;
 			Vb=t0/2;
 			Vc=t120;//
 	break;
 	case 6 :Va=t120;
 			Vb=t0/2;
 			Vc=t10;//
 	break;
	}
}
/* USER CODE END 4 */

void Error_Handler(void)
{
  __disable_irq();
  while (1)
  {
  }
}
